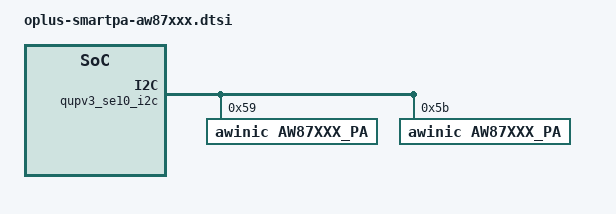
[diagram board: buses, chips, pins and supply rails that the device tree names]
/* Copyright (c) 2018, The Linux Foundation. All rights reserved.
 *
 * This program is free software; you can redistribute it and/or modify
 * it under the terms of the GNU General Public License version 2 and
 * only version 2 as published by the Free Software Foundation.
 *
 * This program is distributed in the hope that it will be useful,
 * but WITHOUT ANY WARRANTY; without even the implied warranty of
 * MERCHANTABILITY or FITNESS FOR A PARTICULAR PURPOSE.  See the
 * GNU General Public License for more details.
 */
/* Copyright (c) 2018, The Linux Foundation. All rights reserved.
 *
 * This program is free software; you can redistribute it and/or modify
 * it under the terms of the GNU General Public License version 2 and
 * only version 2 as published by the Free Software Foundation.
 *
 * This program is distributed in the hope that it will be useful,
 * but WITHOUT ANY WARRANTY; without even the implied warranty of
 * MERCHANTABILITY or FITNESS FOR A PARTICULAR PURPOSE.  See the
 * GNU General Public License for more details.
 */
&qupv3_se10_i2c {
	status = "ok";
	qcom,clk-freq-out = <400000>;
/*stereo dtsi config*/
/* AWINIC AW87XXX Smart K PA */
	aw87xxx_pa@59 {
		compatible = "awinic,aw87xxx_pa";
		reg = <0x59>;
		oplus-real-addr = <0x58>;
		dev_index = < 0 >;
		aw-rx-topo-id = <0x1000ff00>;
		aw-rx-port-id = <0xB030>;
		status = "okay";
	};

	aw87xxx_pa@5b {
		compatible = "awinic,aw87xxx_pa";
		reg = <0x5b>;
		oplus-real-addr = <0x5a>;
		dev_index = < 1 >;
		aw-rx-topo-id = <0x1000ff00>;
		aw-rx-port-id = <0xB030>;
		status = "okay";
	};
/* AWINIC AW87XXX Smart K PA End */
};

